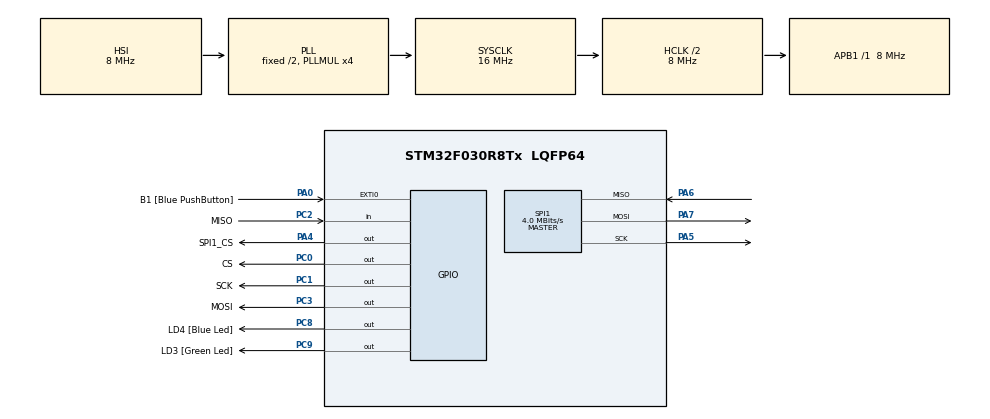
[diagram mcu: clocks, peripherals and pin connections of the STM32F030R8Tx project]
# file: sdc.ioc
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Mcu.Family=STM32F0
Mcu.Name=STM32F030R8Tx
Mcu.Package=LQFP64
PA0.GPIO_Label=B1 [Blue PushButton]
PA0.GPIO_ModeDefaultEXTI=GPIO_MODE_EVT_RISING
PA0.GPIO_PuPd=GPIO_NOPULL
PA0.Signal=GPXTI0
PA13.GPIO_Label=SWDIO
PA13.Mode=Serial-WireDebug
PA13.Signal=SYS_SWDIO
PA14.GPIO_Label=SWCLK
PA14.Mode=Serial-WireDebug
PA14.Signal=SYS_SWCLK
PA4.GPIO_Label=SPI1_CS
PA4.GPIO_ModeDefaultOutputPP=GPIO_MODE_OUTPUT_PP
PA4.GPIO_PuPd=GPIO_PULLUP
PA4.GPIO_Speed=GPIO_SPEED_LOW
PA4.Signal=GPIO_Output
PA5.GPIO_Mode=GPIO_MODE_AF_PP
PA5.GPIO_PuPd=GPIO_PULLUP
PA5.GPIO_Speed=GPIO_SPEED_HIGH
PA5.Mode=Full_Duplex_Master
PA5.Signal=SPI1_SCK
PA6.GPIO_Mode=GPIO_MODE_AF_PP
PA6.GPIO_PuPd=GPIO_PULLUP
PA6.GPIO_Speed=GPIO_SPEED_HIGH
PA6.Mode=Full_Duplex_Master
PA6.Signal=SPI1_MISO
PA7.GPIO_Mode=GPIO_MODE_AF_PP
PA7.GPIO_PuPd=GPIO_PULLUP
PA7.GPIO_Speed=GPIO_SPEED_HIGH
PA7.Mode=Full_Duplex_Master
PA7.Signal=SPI1_MOSI
PC0.GPIO_Label=CS
PC0.GPIO_ModeDefaultOutputPP=GPIO_MODE_OUTPUT_PP
PC0.GPIO_PuPd=GPIO_PULLUP
PC0.GPIO_Speed=GPIO_SPEED_LOW
PC0.Signal=GPIO_Output
PC1.GPIO_Label=SCK
PC1.GPIO_ModeDefaultOutputPP=GPIO_MODE_OUTPUT_PP
PC1.GPIO_PuPd=GPIO_PULLUP
PC1.GPIO_Speed=GPIO_SPEED_LOW
PC1.Signal=GPIO_Output
PC2.GPIO_Label=MISO
PC2.GPIO_Mode=GPIO_MODE_INPUT
PC2.GPIO_PuPd=GPIO_PULLUP
PC2.Signal=GPIO_Input
PC3.GPIO_Label=MOSI
PC3.GPIO_ModeDefaultOutputPP=GPIO_MODE_OUTPUT_PP
PC3.GPIO_PuPd=GPIO_PULLUP
PC3.GPIO_Speed=GPIO_SPEED_LOW
PC3.Signal=GPIO_Output
PC8.GPIO_Label=LD4 [Blue Led]
PC8.GPIO_ModeDefaultOutputPP=GPIO_MODE_OUTPUT_PP
PC8.GPIO_PuPd=GPIO_NOPULL
PC8.GPIO_Speed=GPIO_SPEED_LOW
PC8.Signal=GPIO_Output
PC9.GPIO_Label=LD3 [Green Led]
PC9.GPIO_ModeDefaultOutputPP=GPIO_MODE_OUTPUT_PP
PC9.GPIO_PuPd=GPIO_NOPULL
PC9.GPIO_Speed=GPIO_SPEED_LOW
PC9.Signal=GPIO_Output
ProjectManager.TargetToolchain=MDK-ARM V5
RCC.AHBCLKDivider=RCC_SYSCLK_DIV2
RCC.AHBFreq_Value=8000000
RCC.APB1Freq_Value=8000000
RCC.APB1TimFreq_Value=8000000
RCC.HCLKFreq_Value=8000000
RCC.PLLMUL=RCC_PLL_MUL4
RCC.SYSCLKFreq_VALUE=16000000
RCC.SYSCLKSource=RCC_SYSCLKSOURCE_PLLCLK
SPI1.BaudRatePrescaler=SPI_BAUDRATEPRESCALER_2
SPI1.CalculateBaudRate=4.0 MBits/s
SPI1.Mode=SPI_MODE_MASTER
board=STM32F0308-DISCO

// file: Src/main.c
/**
  ******************************************************************************
  * File Name          : main.c
  * Description        : Main program body
  ******************************************************************************
  *
  * COPYRIGHT(c) 2016 STMicroelectronics
  *
  * Redistribution and use in source and binary forms, with or without modification,
  * are permitted provided that the following conditions are met:
  *   1. Redistributions of source code must retain the above copyright notice,
  *      this list of conditions and the following disclaimer.
  *   2. Redistributions in binary form must reproduce the above copyright notice,
  *      this list of conditions and the following disclaimer in the documentation
  *      and/or other materials provided with the distribution.
  *   3. Neither the name of STMicroelectronics nor the names of its contributors
  *      may be used to endorse or promote products derived from this software
  *      without specific prior written permission.
  *
  * THIS SOFTWARE IS PROVIDED BY THE COPYRIGHT HOLDERS AND CONTRIBUTORS "AS IS"
  * AND ANY EXPRESS OR IMPLIED WARRANTIES, INCLUDING, BUT NOT LIMITED TO, THE
  * IMPLIED WARRANTIES OF MERCHANTABILITY AND FITNESS FOR A PARTICULAR PURPOSE ARE
  * DISCLAIMED. IN NO EVENT SHALL THE COPYRIGHT HOLDER OR CONTRIBUTORS BE LIABLE
  * FOR ANY DIRECT, INDIRECT, INCIDENTAL, SPECIAL, EXEMPLARY, OR CONSEQUENTIAL
  * DAMAGES (INCLUDING, BUT NOT LIMITED TO, PROCUREMENT OF SUBSTITUTE GOODS OR
  * SERVICES; LOSS OF USE, DATA, OR PROFITS; OR BUSINESS INTERRUPTION) HOWEVER
  * CAUSED AND ON ANY THEORY OF LIABILITY, WHETHER IN CONTRACT, STRICT LIABILITY,
  * OR TORT (INCLUDING NEGLIGENCE OR OTHERWISE) ARISING IN ANY WAY OUT OF THE USE
  * OF THIS SOFTWARE, EVEN IF ADVISED OF THE POSSIBILITY OF SUCH DAMAGE.
  *
  ******************************************************************************
  */
#include "stm32f0xx_hal.h"
#include "SD_routines.h"
#include "SPI.h"

SPI_HandleTypeDef hspi1;

/* USER CODE BEGIN PV */
/* Private variables ---------------------------------------------------------*/

/* USER CODE END PV */

void SystemClock_Config(void);
static void MX_GPIO_Init(void);
static void MX_SPI1_Init(void);

/* USER CODE BEGIN PFP */
/* Private function prototypes -----------------------------------------------*/

/* USER CODE END PFP */

/* USER CODE BEGIN 0 */
void delaymain(uint32_t x){while(x--);}
//uint8_t buffer[512];
uint8_t mytext[16] = "hello world";
// unsigned char temp[512];
uint8_t status =1;
uint16_t timeout = 0;
uint16_t cnt = 32;
uint8_t *ptr,cntr,error;
unsigned int ret;
uint8_t chck;
extern volatile unsigned char cardType;

//FATFS FatFs;		/* FatFs work area needed for each volume */
//FIL fp;			/* File object needed for each open file */

/* USER CODE END 0 */

int main(void)
{

  /* MCU Configuration----------------------------------------------------------*/

  /* Reset of all peripherals, Initializes the Flash interface and the Systick. */
  HAL_Init();

  /* Configure the system clock */
  SystemClock_Config();

  /* Initialize all configured peripherals */
  MX_GPIO_Init();
  MX_SPI1_Init();

  /* USER CODE BEGIN 2 */
cardType = 0;

for (int i=0; i<10; i++)
{
  error = SD_init();
  if(!error) break;
}

if(error)
{
  if(error == 1) cntr = 90;//transmitString_F(PSTR("SD card not detected.."));
  if(error == 2) cntr = 91;//transmitString_F(PSTR("Card Initialization failed.."));

  while(1);  //wait here forever if error in SD init
}

switch (cardType)
{
  case 1:cntr = 1;//transmitString_F(PSTR("Standard Capacity Card (Ver 1.x) Detected!"));
  		 break;
  case 2:cntr = 2;//transmitString_F(PSTR("High Capacity Card Detected!"));
  		 break;
  case 3:cntr = 3;//transmitString_F(PSTR("Standard Capacity Card (Ver 2.x) Detected!"));
  		 break;
  default:cntr = 4;//transmitString_F(PSTR("Unknown SD Card Detected!"));
  		 break;
}

  /* USER CODE END 2 */

  /* Infinite loop */
  while (1)
  {

  }

}

/** System Clock Configuration
*/
void SystemClock_Config(void)
{

  RCC_OscInitTypeDef RCC_OscInitStruct;
  RCC_ClkInitTypeDef RCC_ClkInitStruct;

  RCC_OscInitStruct.OscillatorType = RCC_OSCILLATORTYPE_HSI;
  RCC_OscInitStruct.HSIState = RCC_HSI_ON;
  RCC_OscInitStruct.HSICalibrationValue = 16;
  RCC_OscInitStruct.PLL.PLLState = RCC_PLL_ON;
  RCC_OscInitStruct.PLL.PLLSource = RCC_PLLSOURCE_HSI;
  RCC_OscInitStruct.PLL.PLLMUL = RCC_PLL_MUL4;
  RCC_OscInitStruct.PLL.PREDIV = RCC_PREDIV_DIV1;
  HAL_RCC_OscConfig(&RCC_OscInitStruct);

  RCC_ClkInitStruct.ClockType = RCC_CLOCKTYPE_HCLK|RCC_CLOCKTYPE_SYSCLK;
  RCC_ClkInitStruct.SYSCLKSource = RCC_SYSCLKSOURCE_PLLCLK;
  RCC_ClkInitStruct.AHBCLKDivider = RCC_SYSCLK_DIV2;
  RCC_ClkInitStruct.APB1CLKDivider = RCC_HCLK_DIV1;
  HAL_RCC_ClockConfig(&RCC_ClkInitStruct, FLASH_LATENCY_0);

  HAL_SYSTICK_Config(HAL_RCC_GetHCLKFreq()/1000);

  HAL_SYSTICK_CLKSourceConfig(SYSTICK_CLKSOURCE_HCLK);

}

/* SPI1 init function */
void MX_SPI1_Init(void)
{

  hspi1.Instance = SPI1;
  hspi1.Init.Mode = SPI_MODE_MASTER;
  hspi1.Init.Direction = SPI_DIRECTION_2LINES;
  hspi1.Init.DataSize = SPI_DATASIZE_4BIT;
  hspi1.Init.CLKPolarity = SPI_POLARITY_LOW;
  hspi1.Init.CLKPhase = SPI_PHASE_1EDGE;
  hspi1.Init.NSS = SPI_NSS_SOFT;
  hspi1.Init.BaudRatePrescaler = SPI_BAUDRATEPRESCALER_2;
  hspi1.Init.FirstBit = SPI_FIRSTBIT_MSB;
  hspi1.Init.TIMode = SPI_TIMODE_DISABLED;
  hspi1.Init.CRCCalculation = SPI_CRCCALCULATION_DISABLED;
  hspi1.Init.CRCPolynomial = 10;
  hspi1.Init.CRCLength = SPI_CRC_LENGTH_DATASIZE;
  hspi1.Init.NSSPMode = SPI_NSS_PULSE_ENABLED;
  HAL_SPI_Init(&hspi1);

}

/** Configure pins as
        * Analog
        * Input
        * Output
        * EVENT_OUT
        * EXTI
*/
void MX_GPIO_Init(void)
{

  GPIO_InitTypeDef GPIO_InitStruct;

  /* GPIO Ports Clock Enable */
  __GPIOC_CLK_ENABLE();
  __GPIOA_CLK_ENABLE();

  /*Configure GPIO pins : PC0 PC1 PC3 */
  GPIO_InitStruct.Pin = GPIO_PIN_0|GPIO_PIN_1|GPIO_PIN_3;
  GPIO_InitStruct.Mode = GPIO_MODE_OUTPUT_PP;
  GPIO_InitStruct.Pull = GPIO_PULLUP;
  GPIO_InitStruct.Speed = GPIO_SPEED_LOW;
  HAL_GPIO_Init(GPIOC, &GPIO_InitStruct);

  /*Configure GPIO pin : PC2 */
  GPIO_InitStruct.Pin = GPIO_PIN_2;
  GPIO_InitStruct.Mode = GPIO_MODE_INPUT;
  GPIO_InitStruct.Pull = GPIO_PULLUP;
  HAL_GPIO_Init(GPIOC, &GPIO_InitStruct);

  /*Configure GPIO pin : PA0 */
  GPIO_InitStruct.Pin = GPIO_PIN_0;
  GPIO_InitStruct.Mode = GPIO_MODE_EVT_RISING;
  GPIO_InitStruct.Pull = GPIO_NOPULL;
  HAL_GPIO_Init(GPIOA, &GPIO_InitStruct);

  /*Configure GPIO pin : PA4 */
  GPIO_InitStruct.Pin = GPIO_PIN_4;
  GPIO_InitStruct.Mode = GPIO_MODE_OUTPUT_PP;
  GPIO_InitStruct.Pull = GPIO_PULLUP;
  GPIO_InitStruct.Speed = GPIO_SPEED_LOW;
  HAL_GPIO_Init(GPIOA, &GPIO_InitStruct);

  /*Configure GPIO pins : PC8 PC9 */
  GPIO_InitStruct.Pin = GPIO_PIN_8|GPIO_PIN_9;
  GPIO_InitStruct.Mode = GPIO_MODE_OUTPUT_PP;
  GPIO_InitStruct.Pull = GPIO_NOPULL;
  GPIO_InitStruct.Speed = GPIO_SPEED_LOW;
  HAL_GPIO_Init(GPIOC, &GPIO_InitStruct);

}

/************************ (C) COPYRIGHT STMicroelectronics *****END OF FILE****/
